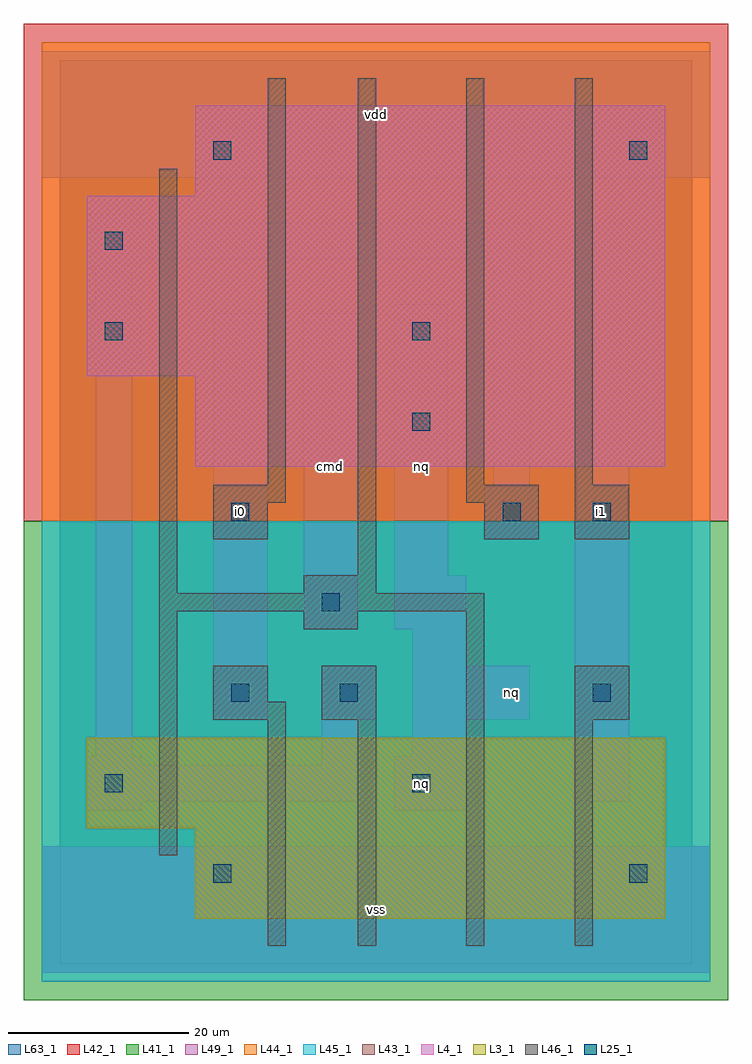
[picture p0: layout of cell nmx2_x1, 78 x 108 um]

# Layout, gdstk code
import gdstk
lib = gdstk.Library(unit=1e-6, precision=1e-09)
def R(c, l, rs):  # rectangles x0, y0, x1, y1
    for r in rs: c.add(gdstk.rectangle(r[:2], r[2:], *l))
L3_1 = (3, 1)
L4_1 = (4, 1)
L25_1 = (25, 1)
L41_1 = (41, 1)
L42_1 = (42, 1)
L43_1 = (43, 1)
L44_1 = (44, 1)
L45_1 = (45, 1)
L46_1 = (46, 1)
L49_1 = (49, 1)
L63_1 = (63, 1)

nmx2_x1 = lib.new_cell('nmx2_x1')
R(nmx2_x1, L3_1, [(15,5,67,15), (3,15,67,25)])
R(nmx2_x1, L4_1, [(15,55,67,65), (3,65,67,85), (15,85,67,95)])
R(nmx2_x1, L25_1, [(17,9,19,11), (63,9,65,11), (5,19,7,21), (39,19,41,21), (19,29,21,31), (31,29,33,31), (59,29,61,31), (29,39,31,41), (19,49,21,51), (49,49,51,51), (59,49,61,51), (39,59,41,61), (5,69,7,71), (39,69,41,71), (5,79,7,81), (17,89,19,91), (63,89,65,91)])
R(nmx2_x1, L41_1, [(-4,-4,74,49)])
R(nmx2_x1, L42_1, [(-4,49,74,104)])
R(nmx2_x1, L43_1, [(15,5,67,15), (3,15,67,25), (15,55,67,65), (3,65,67,85), (15,85,67,95)])
R(nmx2_x1, L44_1, [(-2,49,72,102)])
R(nmx2_x1, L45_1, [(-2,-2,72,49)])
R(nmx2_x1, L46_1, [(23,2,25,27), (33,2,35,27), (45,2,47,39), (57,2,59,27), (11,12,13,39), (17,27,25,29), (29,27,35,33), (57,27,63,33), (17,29,23,33), (27,37,33,39), (11,39,47,41), (11,41,13,88), (27,41,35,43), (33,43,35,98), (17,47,23,51), (47,47,53,51), (57,47,63,53), (17,51,25,53), (45,51,53,53), (23,53,25,98), (45,53,47,98), (57,53,59,98)])
R(nmx2_x1, L49_1, [(-2,-1,72,13), (3,17,9,18), (37,17,45,23), (3,18,33,22), (57,18,63,82), (3,22,9,23), (29,22,33,27), (4,23,8,67), (39,23,45,27), (17,27,23,72), (29,27,35,33), (39,27,52,33), (39,33,45,37), (27,37,33,72), (37,37,45,43), (37,43,43,73), (47,47,53,53), (48,53,52,78), (3,67,9,73), (4,73,8,77), (3,77,9,78), (3,78,52,82), (3,82,9,83), (-2,87,72,101)])
R(nmx2_x1, L63_1, [(0,0,70,100)])
nmx2_x1.add(gdstk.Label('i0', (20,50), layer=49, texttype=1))
nmx2_x1.add(gdstk.Label('i0', (20,50), layer=49, texttype=1))
nmx2_x1.add(gdstk.Label('cmd', (30,55), layer=49, texttype=1))
nmx2_x1.add(gdstk.Label('cmd', (30,55), layer=49, texttype=1))
nmx2_x1.add(gdstk.Label('vss', (35,6), layer=49, texttype=1))
nmx2_x1.add(gdstk.Label('vss', (35,6), layer=49, texttype=1))
nmx2_x1.add(gdstk.Label('nq', (40,20), layer=49, texttype=1))
nmx2_x1.add(gdstk.Label('nq', (40,20), layer=49, texttype=1))
nmx2_x1.add(gdstk.Label('nq', (50,30), layer=49, texttype=1))
nmx2_x1.add(gdstk.Label('nq', (50,30), layer=49, texttype=1))
nmx2_x1.add(gdstk.Label('nq', (40,55), layer=49, texttype=1))
nmx2_x1.add(gdstk.Label('nq', (40,55), layer=49, texttype=1))
nmx2_x1.add(gdstk.Label('vdd', (35,94), layer=49, texttype=1))
nmx2_x1.add(gdstk.Label('vdd', (35,94), layer=49, texttype=1))
nmx2_x1.add(gdstk.Label('i1', (60,50), layer=49, texttype=1))
nmx2_x1.add(gdstk.Label('i1', (60,50), layer=49, texttype=1))

lib.write_gds('nmx2_x1.gds')
